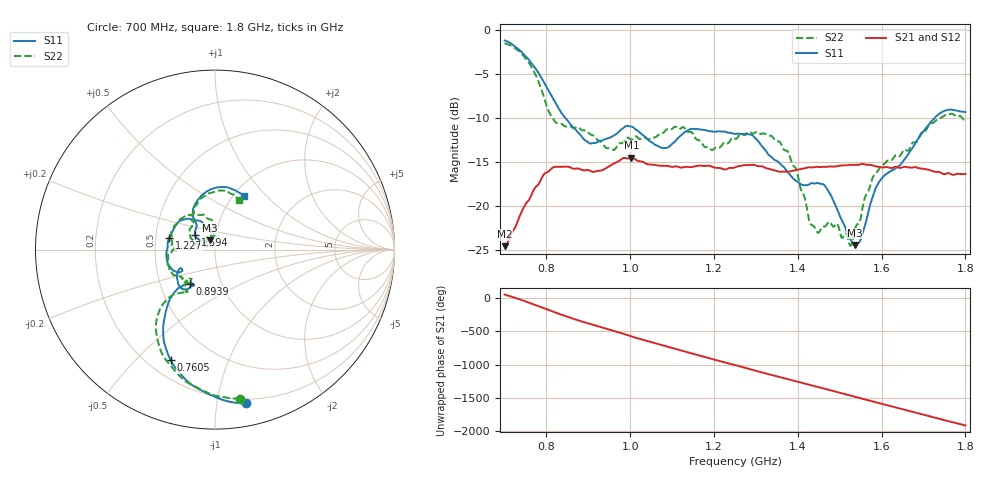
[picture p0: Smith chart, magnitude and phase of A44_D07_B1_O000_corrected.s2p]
! Created with skrf 1.9.0 (http://scikit-rf.org).
# Hz S RI R 50.0
!freq ReS11 ImS11 ReS21 ImS21 ReS12 ImS12 ReS22 ImS22
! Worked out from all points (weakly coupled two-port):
!   1601 points, 700 MHz to 1.8 GHz, reference 50 ohm
!   highest |S21| = -14.51 dB at 1.002 GHz (marker M1); lowest = -24.6 dB at 700 MHz (marker M2)
!   lowest |S11| = -24.5 dB at 1.535 GHz (marker M3), VSWR 1.13, Z = 47 + j4.97 ohm
!   |S11| at or under -10 dB: 845.3 MHz to 1.726 GHz (880.8 MHz wide, 68.5 % of centre)
!   |S22| runs from -24.5 to -1.5 dB; largest |S21 - S12| = 0.0036
!   S11 on the Smith chart (normalised r, x): 700 MHz: 0.17, -1.21; 760.5 MHz: 0.29, -0.64; 893.9 MHz: 0.71, -0.28; 1.227 GHz: 0.59, +0.08; 1.594 GHz: 0.79, +0.13; 1.8 GHz: 1.11, +0.76
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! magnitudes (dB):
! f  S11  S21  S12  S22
! 700 MHz  -1.2  -24.6  -24.4  -1.5
! 760.5 MHz  -3.6  -19.1  -19.0  -3.9
! 818.9 MHz  -8.0  -15.6  -15.7  -10.3
! 883.6 MHz  -12.1  -15.9  -15.8  -11.4
! 893.9 MHz  -12.6  -15.9  -16.0  -11.4
! 957.8 MHz  -12.1  -15.3  -15.3  -13.6
! 1.002 GHz  -11.0  -14.5  -14.6  -12.5
! 1.067 GHz  -13.2  -15.4  -15.4  -11.9
! 1.145 GHz  -11.2  -15.6  -15.6  -11.6
! 1.193 GHz  -11.5  -15.5  -15.5  -13.6
! 1.227 GHz  -11.6  -15.8  -15.8  -12.8
! 1.25 GHz  -11.8  -15.6  -15.5  -12.3
! 1.357 GHz  -15.2  -16.1  -16.1  -12.7
! 1.396 GHz  -17.1  -15.9  -15.9  -15.8
! 1.434 GHz  -17.4  -15.6  -15.6  -22.2
! 1.468 GHz  -17.9  -15.6  -15.5  -22.2
! 1.525 GHz  -23.8  -15.3  -15.3  -24.5
! 1.535 GHz  -24.5  -15.3  -15.3  -22.8
! 1.594 GHz  -17.3  -15.6  -15.5  -15.8
! 1.617 GHz  -16.2  -15.6  -15.6  -14.8
! 1.735 GHz  -9.6  -16.1  -16.2  -10.1
! 1.8 GHz  -9.3  -16.4  -16.4  -10.2
